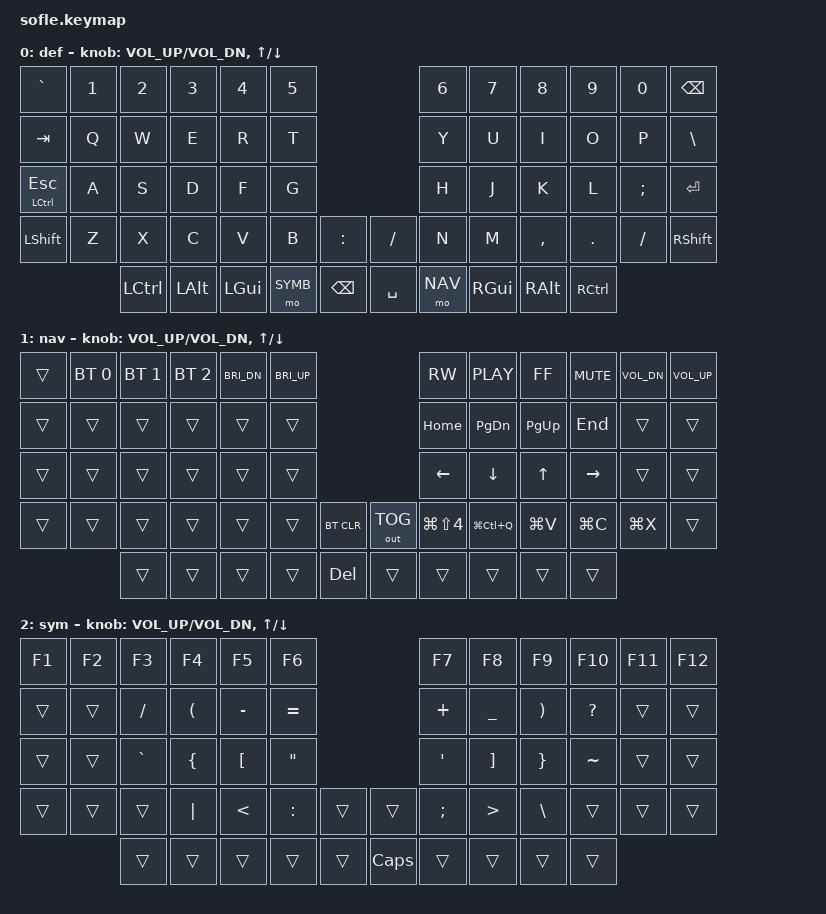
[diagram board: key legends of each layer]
/*
 * Copyright (c) 2020 The ZMK Contributors
 *
 * SPDX-License-Identifier: MIT
 */

#include <behaviors.dtsi>
#include <dt-bindings/zmk/keys.h>
#include <dt-bindings/zmk/bt.h>
#include <dt-bindings/zmk/outputs.h>

#define BASE_MAC 0
#define NAV 1
#define SYMB 2

/ {

    keymap {
        compatible = "zmk,keymap";

        default_layer {
            label = "def";

            bindings = <
&kp GRAVE       &kp N1    &kp N2    &kp N3   &kp N4    &kp N5                           &kp N6   &kp N7    &kp N8    &kp N9   &kp N0   &kp BSPC
&kp TAB         &kp Q     &kp W     &kp E    &kp R     &kp T                            &kp Y    &kp U     &kp I     &kp O    &kp P    &kp BSLH
&mt LCTRL ESC   &kp A     &kp S     &kp D    &kp F     &kp G                            &kp H    &kp J     &kp K     &kp L    &kp SEMI &kp ENTER
&kp LSHFT       &kp Z     &kp X     &kp C    &kp V     &kp B    &kp COLON   &kp SLASH   &kp N    &kp M     &kp COMMA &kp DOT  &kp FSLH &kp RSHFT
                          &kp LCTRL &kp LALT &kp LGUI  &mo SYMB &kp BSPC    &kp SPACE   &mo NAV  &kp RGUI  &kp RALT  &kp RCTRL
            >;

            sensor-bindings = <&inc_dec_kp C_VOL_UP C_VOL_DN &inc_dec_kp UP DOWN>;
        };

        navigation {
            label = "nav";

            bindings = <
&trans          &bt BT_SEL 0    &bt BT_SEL 1    &bt BT_SEL 2    &kp C_BRI_DN	  &kp C_BRI_UP                              &kp C_RW         &kp C_PLAY      &kp C_FF   &kp C_MUTE   &kp C_VOL_DN    &kp C_VOL_UP
&trans          &trans          &trans          &trans          &trans          &trans                                      &kp HOME         &kp PG_DN       &kp PG_UP  &kp END      &trans          &trans
&trans          &trans          &trans          &trans          &trans          &trans                                      &kp LEFT         &kp DOWN        &kp UP     &kp RIGHT    &trans          &trans
&trans          &trans          &trans          &trans          &trans          &trans          &bt BT_CLR  &out OUT_TOG    &kp LG(LS(N4))   &kp LG(LC(Q))   &kp LG(V)  &kp LG(C)    &kp LG(X)       &trans
                                &trans          &trans          &trans          &trans          &kp DEL     &trans          &trans           &trans          &trans     &trans
            >;

            sensor-bindings = <&inc_dec_kp C_VOL_UP C_VOL_DN &inc_dec_kp UP DOWN>;
        };

        symbol {
            label = "sym";

            bindings = <
&kp F1    &kp F2    &kp F3      &kp F4      &kp F5    &kp F6                        &kp F7    &kp F8      &kp F9    &kp F10     &kp F11   &kp F12
&trans    &trans    &kp FSLH    &kp LPAR    &kp MINUS &kp EQUAL                     &kp PLUS  &kp UNDER   &kp RPAR  &kp QMARK   &trans    &trans
&trans    &trans    &kp GRAVE   &kp LBRC    &kp LBKT  &kp DQT                       &kp SQT   &kp RBKT    &kp RBRC  &kp TILDE   &trans    &trans
&trans    &trans    &trans      &kp PIPE    &kp LT    &kp COLON  &trans   &trans    &kp SEMI  &kp GT      &kp BSLH  &trans      &trans    &trans
                    &trans      &trans      &trans    &trans     &trans   &kp CLCK  &trans    &trans      &trans    &trans
            >;

            sensor-bindings = <&inc_dec_kp C_VOL_UP C_VOL_DN &inc_dec_kp UP DOWN>;
        };

    };
};
